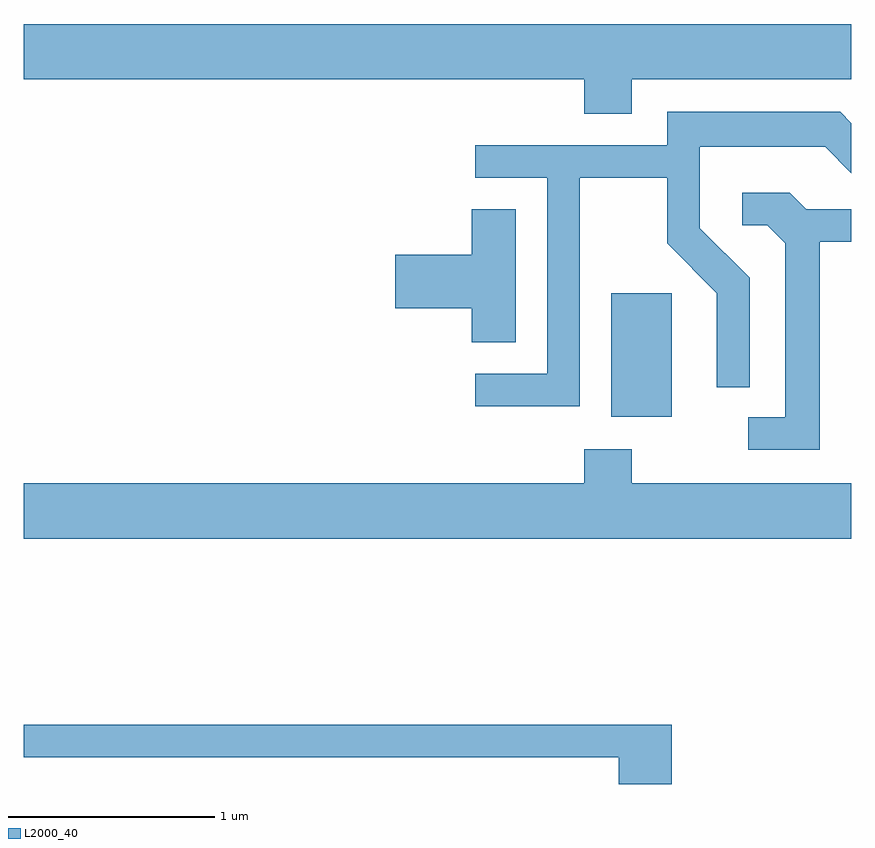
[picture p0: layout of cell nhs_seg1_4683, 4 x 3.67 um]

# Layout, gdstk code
import gdstk
lib = gdstk.Library(unit=1e-6, precision=1e-09)
def R(c, l, rs):  # rectangles x0, y0, x1, y1
    for r in rs: c.add(gdstk.rectangle(r[:2], r[2:], *l))
def P(c, l, *ps):  # polygons
    for p in ps: c.add(gdstk.Polygon(p, *l))
L2000_40 = (2000, 40)

nhs_seg1_4683 = lib.new_cell('nhs_seg1_4683')
R(nhs_seg1_4683, L2000_40, [(328.451,913.486,328.744,914.084)])
P(nhs_seg1_4683, L2000_40, [(328.549,915.116),(329.611,915.116),(329.611,915.384),(325.611,915.384),(325.611,915.116),(328.321,915.116),(328.321,914.951),(328.549,914.951)],
  [(328.299,914.641),(328.721,914.641),(328.721,914.324),(328.961,914.084),(328.961,913.628),(329.119,913.628),(329.119,914.157),(328.879,914.397),(328.879,914.791),(329.484,914.791),(329.611,914.664),(329.611,914.905),(329.557,914.959),(328.721,914.959),(328.721,914.799),(327.793,914.799),(327.793,914.641),(328.141,914.641),(328.141,913.694),(327.793,913.694),(327.793,913.536),(328.299,913.536)],
  [(329.459,914.331),(329.611,914.331),(329.611,914.489),(329.392,914.489),(329.312,914.569),(329.083,914.569),(329.083,914.411),(329.204,914.411),(329.291,914.324),(329.291,913.484),(329.113,913.484),(329.113,913.326),(329.459,913.326)],
  [(327.989,914.489),(327.776,914.489),(327.776,914.269),(327.406,914.269),(327.406,914.011),(327.776,914.011),(327.776,913.846),(327.989,913.846)],
  [(329.611,913.164),(328.549,913.164),(328.549,913.329),(328.321,913.329),(328.321,913.164),(325.611,913.164),(325.611,912.896),(329.611,912.896)],
  [(328.744,911.999),(325.611,911.999),(325.611,911.841),(328.486,911.841),(328.486,911.712),(328.744,911.712)])

lib.write_gds('nhs_seg1_4683.gds')
